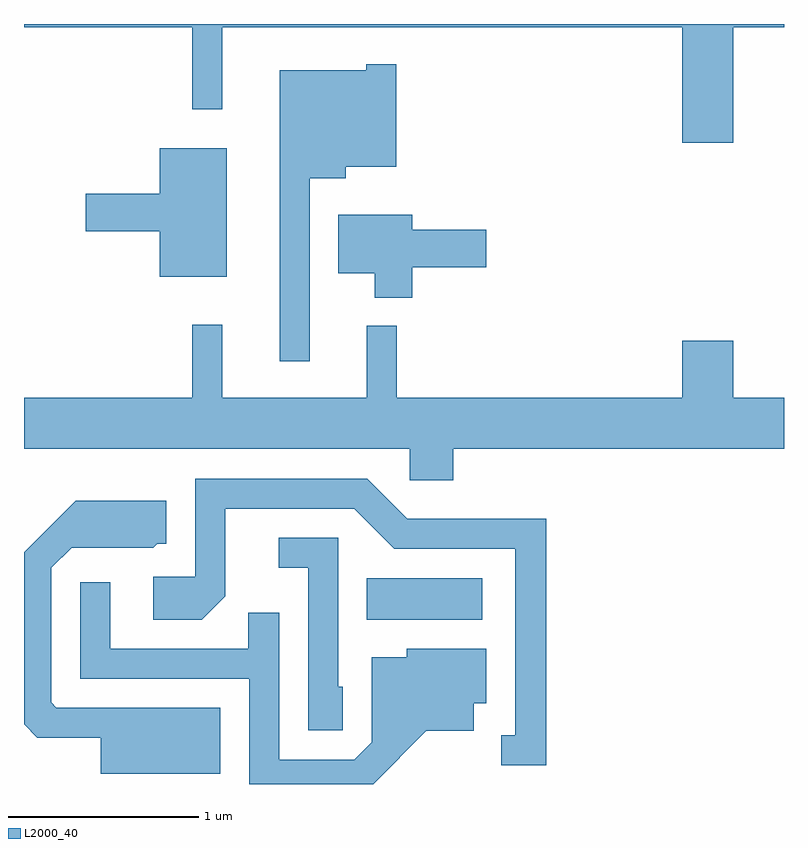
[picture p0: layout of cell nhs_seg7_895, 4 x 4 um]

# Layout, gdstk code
import gdstk
lib = gdstk.Library(unit=1e-6, precision=1e-09)
def R(c, l, rs):  # rectangles x0, y0, x1, y1
    for r in rs: c.add(gdstk.rectangle(r[:2], r[2:], *l))
def P(c, l, *ps):  # polygons
    for p in ps: c.add(gdstk.Polygon(p, *l))
L2000_40 = (2000, 40)

nhs_seg7_895 = lib.new_cell('nhs_seg7_895')
R(nhs_seg7_895, L2000_40, [(213.416,1791.116,214.024,1791.334)])
P(nhs_seg7_895, L2000_40, [(215.344,1794.236),(215.611,1794.236),(215.611,1794.252),(211.611,1794.252),(211.611,1794.236),(212.496,1794.236),(212.496,1793.803),(212.654,1793.803),(212.654,1794.236),(215.076,1794.236),(215.076,1793.626),(215.344,1793.626)],
  [(213.114,1793.441),(213.304,1793.441),(213.304,1793.501),(213.569,1793.501),(213.569,1794.039),(213.411,1794.039),(213.411,1794.009),(212.956,1794.009),(212.956,1792.478),(213.114,1792.478)],
  [(212.679,1793.599),(212.326,1793.599),(212.326,1793.359),(211.936,1793.359),(211.936,1793.161),(212.326,1793.161),(212.326,1792.921),(212.679,1792.921)],
  [(213.654,1792.971),(214.044,1792.971),(214.044,1793.169),(213.654,1793.169),(213.654,1793.249),(213.266,1793.249),(213.266,1792.941),(213.456,1792.941),(213.456,1792.811),(213.654,1792.811)],
  [(213.869,1792.016),(215.611,1792.016),(215.611,1792.284),(215.344,1792.284),(215.344,1792.584),(215.076,1792.584),(215.076,1792.284),(213.574,1792.284),(213.574,1792.663),(213.416,1792.663),(213.416,1792.284),(212.654,1792.284),(212.654,1792.668),(212.496,1792.668),(212.496,1792.284),(211.611,1792.284),(211.611,1792.016),(213.641,1792.016),(213.641,1791.851),(213.869,1791.851)],
  [(214.359,1791.649),(213.627,1791.649),(213.417,1791.859),(212.511,1791.859),(212.511,1791.344),(212.291,1791.344),(212.291,1791.116),(212.547,1791.116),(212.669,1791.239),(212.669,1791.701),(213.349,1791.701),(213.559,1791.491),(214.196,1791.491),(214.196,1790.509),(214.123,1790.509),(214.123,1790.351),(214.359,1790.351)],
  [(212.644,1790.654),(211.782,1790.654),(211.754,1790.682),(211.754,1791.389),(211.862,1791.496),(212.292,1791.496),(212.312,1791.516),(212.359,1791.516),(212.359,1791.744),(211.884,1791.744),(211.611,1791.472),(211.611,1790.567),(211.682,1790.496),(212.016,1790.496),(212.016,1790.306),(212.644,1790.306)],
  [(213.289,1790.764),(213.264,1790.764),(213.264,1791.549),(212.953,1791.549),(212.953,1791.391),(213.106,1791.391),(213.106,1790.536),(213.289,1790.536)],
  [(213.727,1790.531),(213.979,1790.531),(213.979,1790.676),(214.044,1790.676),(214.044,1790.964),(213.626,1790.964),(213.626,1790.919),(213.441,1790.919),(213.441,1790.472),(213.349,1790.379),(212.954,1790.379),(212.954,1791.153),(212.791,1791.153),(212.791,1790.964),(212.064,1790.964),(212.064,1791.313),(211.906,1791.313),(211.906,1790.806),(212.796,1790.806),(212.796,1790.252),(213.448,1790.252)])

lib.write_gds('nhs_seg7_895.gds')
